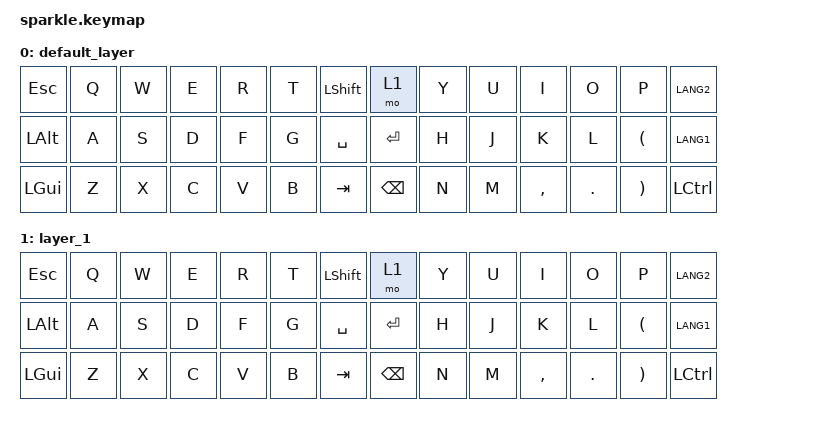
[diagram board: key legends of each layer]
// 標準的なキーマップのビヘイビア定義を読み込み
#include <behaviors.dtsi>

// Bluetooth 関連のビヘイビア（BT_SEL, BT_CLR など）を使うための定義を読み込み
#include <dt-bindings/zmk/bt.h>

/ {
    // キーマップを定義するノード
    keymap {
        compatible = "zmk,keymap";  // ZMKがキーマップとして認識するための識別子
 
        // デフォルトレイヤー（電源ON時やリセット後に使われる基本層）
        default_layer {
            bindings = <
                &kp ESC     &kp Q     &kp W     &kp E     &kp R     &kp T     &kp LSHIFT    &mo 1        &kp Y     &kp U     &kp I     &kp O     &kp P      &kp LANG2
                &kp LALT    &kp A     &kp S     &kp D     &kp F     &kp G     &kp SPACE     &kp ENTER    &kp H     &kp J     &kp K     &kp L     &kp LPAR   &kp LANG1
                &kp LGUI    &kp Z     &kp X     &kp C     &kp V     &kp B     &kp TAB       &kp BSPC     &kp N     &kp M     &kp COMMA &kp DOT   &kp RPAR   &kp LCTRL
            >;
        };

        layer_1 {
            bindings = <
                &kp ESC     &kp Q     &kp W     &kp E     &kp R     &kp T     &kp LSHIFT    &mo 1        &kp Y     &kp U     &kp I     &kp O     &kp P      &kp LANG2
                &kp LALT    &kp A     &kp S     &kp D     &kp F     &kp G     &kp SPACE     &kp ENTER    &kp H     &kp J     &kp K     &kp L     &kp LPAR   &kp LANG1
                &kp LGUI    &kp Z     &kp X     &kp C     &kp V     &kp B     &kp TAB       &kp BSPC     &kp N     &kp M     &kp COMMA &kp DOT   &kp RPAR   &kp LCTRL
            >;
        };
    };
};
